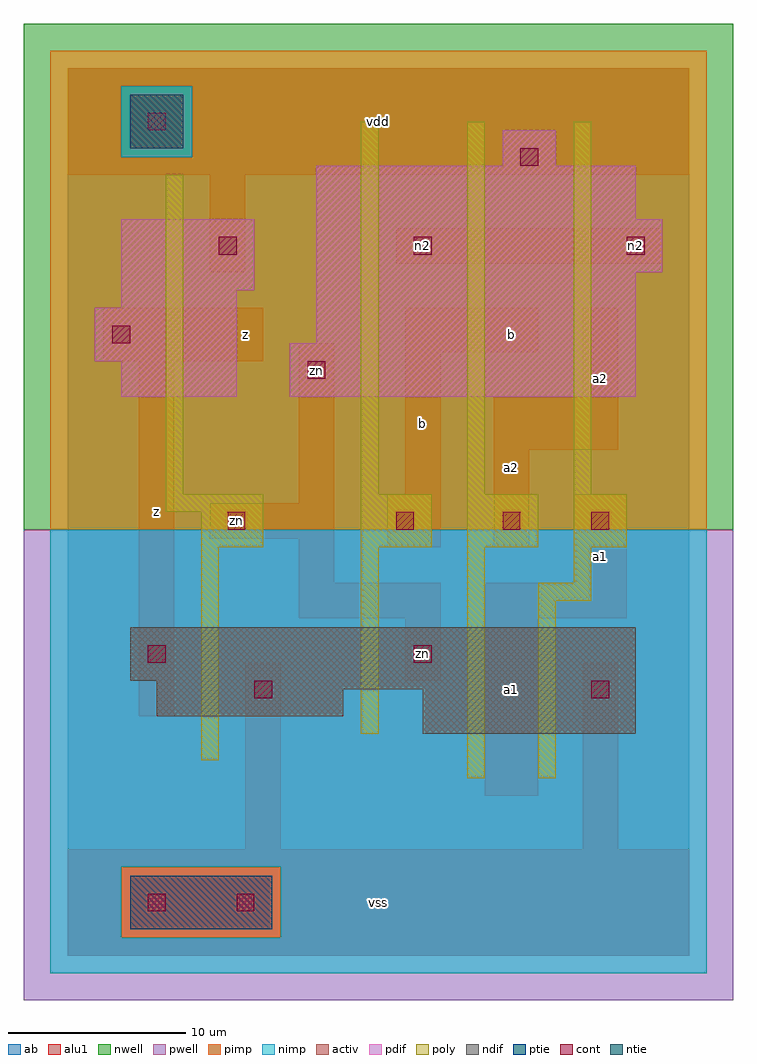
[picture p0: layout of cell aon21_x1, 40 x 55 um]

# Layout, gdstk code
import gdstk
lib = gdstk.Library(unit=1e-6, precision=1e-09)
def R(c, l, rs):  # rectangles x0, y0, x1, y1
    for r in rs: c.add(gdstk.rectangle(r[:2], r[2:], *l))
def A(c, l, x, y, w, h, nx, ny, dx, dy):  # array of equal rectangles
    R(c, l, [(x+i*dx, y+j*dy, x+i*dx+w, y+j*dy+h) for i in range(nx) for j in range(ny)])
ndif = (3, 0)
pdif = (4, 0)
ntie = (5, 0)
ptie = (6, 0)
cont = (25, 0)
pwell = (41, 0)
nwell = (42, 0)
activ = (43, 0)
pimp = (44, 0)
nimp = (45, 0)
poly = (46, 0)
alu1 = (49, 0)
ab = (63, 0)

aon21_x1 = lib.new_cell('aon21_x1')
R(aon21_x1, ndif, [(20,12.5,32,15), (5,13.5,15.5,15), (5,15,32,15.5), (3.5,15.5,32,18.5)])
R(aon21_x1, pdif, [(3,31.5,9.5,33.5), (12.5,31.5,32,34.5), (1.5,33.5,9.5,36.5), (14,34.5,32,38.5), (3,36.5,9.5,37.5), (3,37.5,10.5,41.5), (14,38.5,33.5,41.5), (14,41.5,32,44.5), (24.5,44.5,27.5,46.5)])
R(aon21_x1, ntie, [(3.5,45.5,6.5,48.5)])
R(aon21_x1, ptie, [(3.5,1.5,11.5,4.5)])
R(aon21_x1, cont, [(4.5,2.5,5.5,3.5), (9.5,2.5,10.5,3.5), (10.5,14.5,11.5,15.5), (29.5,14.5,30.5,15.5), (4.5,16.5,5.5,17.5), (19.5,16.5,20.5,17.5), (9,24,10,25), (18.5,24,19.5,25), (24.5,24,25.5,25), (29.5,24,30.5,25), (13.5,32.5,14.5,33.5), (2.5,34.5,3.5,35.5), (8.5,39.5,9.5,40.5), (19.5,39.5,20.5,40.5), (31.5,39.5,32.5,40.5), (25.5,44.5,26.5,45.5), (4.5,46.5,5.5,47.5)])
R(aon21_x1, pwell, [(-2.5,-2.5,37.5,24)])
R(aon21_x1, nwell, [(-2.5,24,37.5,52.5)])
R(aon21_x1, activ, [(3.5,1.5,11.5,4.5), (20,12.5,32,15), (5,13.5,15.5,15), (5,15,32,15.5), (3.5,15.5,32,18.5), (3,31.5,9.5,33.5), (12.5,31.5,32,34.5), (1.5,33.5,9.5,36.5), (14,34.5,32,38.5), (3,36.5,9.5,37.5), (3,37.5,10.5,41.5), (14,38.5,33.5,41.5), (14,41.5,32,44.5), (24.5,44.5,27.5,46.5), (3.5,45.5,6.5,48.5)])
R(aon21_x1, pimp, [(3,1,12,5), (-1,24,36,45), (-1,45,3,49), (7,45,36,49), (-1,49,36,51)])
R(aon21_x1, nimp, [(-1,-1,36,1), (-1,1,3,5), (12,1,36,5), (-1,5,36,24), (3,45,7,49)])
A(aon21_x1, poly, 16.5, 26, 1, 21, 3, 1, 6, 0)
R(aon21_x1, poly, [(22.5,10,23.5,23), (26.5,10,27.5,20), (7.5,11,8.5,23), (16.5,12.5,17.5,23), (26.5,20,29.5,21), (28.5,21,29.5,23), (7.5,23,11,25), (16.5,23,20.5,26), (22.5,23,26.5,26), (28.5,23,31.5,26), (5.5,25,11,26), (5.5,26,6.5,44)])
R(aon21_x1, alu1, [(0,0,35,6), (0,0,35,6), (10,6,12,16.5), (10,6,12,16.5), (29,6,31,16.5), (29,6,31,16.5), (23.5,9,26.5,19), (23.5,9,26.5,19), (4,13.5,6,33.5), (4,13.5,6,33.5), (19,15.5,21,19), (19,15.5,21,19), (13,19,21,21), (13,19,21,21), (23.5,19,31.5,21), (23.5,19,31.5,21), (13,21,15,23.5), (13,21,15,23.5), (28.5,21,31.5,26), (28.5,21,31.5,26), (18,23,21,26), (18,23,21,26), (24,23,26,28.5), (24,23,26,28.5), (8,23.5,15,25.5), (8,23.5,15,25.5), (13,25.5,15,34.5), (13,25.5,15,34.5), (19,26,21,34), (19,26,21,34), (24,28.5,31,31.5), (24,28.5,31,31.5), (29,31.5,31,36.5), (29,31.5,31,36.5), (2,33.5,11,36.5), (2,33.5,11,36.5), (19,34,26.5,36.5), (19,34,26.5,36.5), (8,38.5,10,44), (8,38.5,10,44), (18.5,39,33.5,41), (18.5,39,33.5,41), (0,44,35,50), (0,44,35,50)])
R(aon21_x1, ab, [(0,0,35,50)])
aon21_x1.add(gdstk.Label('zn', (9.5,24.5), layer=49, texttype=0))
aon21_x1.add(gdstk.Label('zn', (20,17), layer=49, texttype=0))
aon21_x1.add(gdstk.Label('zn', (14,33), layer=49, texttype=0))
aon21_x1.add(gdstk.Label('n2', (20,40), layer=49, texttype=0))
aon21_x1.add(gdstk.Label('n2', (32,40), layer=49, texttype=0))
aon21_x1.add(gdstk.Label('z', (5,25), layer=49, texttype=0))
aon21_x1.add(gdstk.Label('z', (10,35), layer=49, texttype=0))
aon21_x1.add(gdstk.Label('vss', (17.5,3), layer=49, texttype=0))
aon21_x1.add(gdstk.Label('a1', (25,15), layer=49, texttype=0))
aon21_x1.add(gdstk.Label('b', (25,35), layer=49, texttype=0))
aon21_x1.add(gdstk.Label('a2', (25,27.5), layer=49, texttype=0))
aon21_x1.add(gdstk.Label('b', (20,30), layer=49, texttype=0))
aon21_x1.add(gdstk.Label('vdd', (17.5,47), layer=49, texttype=0))
aon21_x1.add(gdstk.Label('a1', (30,22.5), layer=49, texttype=0))
aon21_x1.add(gdstk.Label('a2', (30,32.5), layer=49, texttype=0))

lib.write_gds('aon21_x1.gds')
